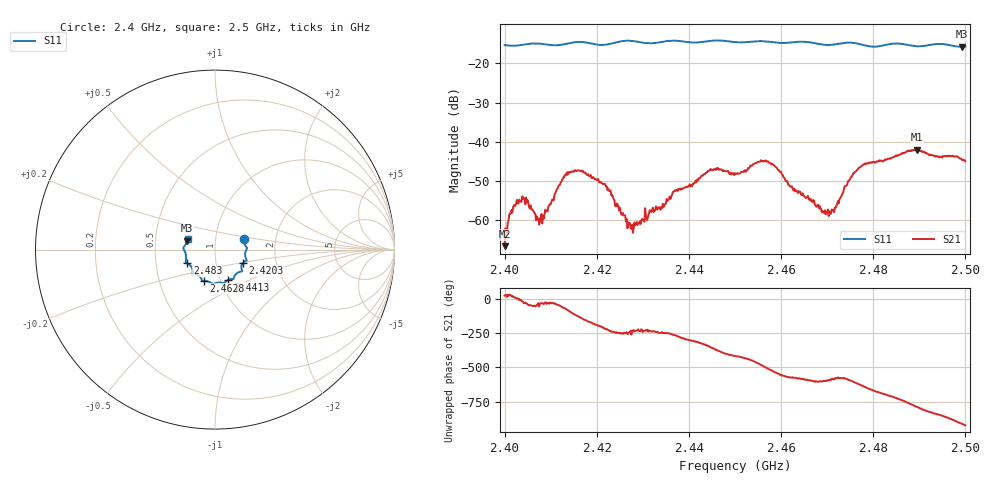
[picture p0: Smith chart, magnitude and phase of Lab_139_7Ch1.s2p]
# Hz S RI R 50
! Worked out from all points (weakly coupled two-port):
!   601 points, 2.4 GHz to 2.5 GHz, reference 50 ohm
!   highest |S21| = -41.97 dB at 2.4895 GHz (marker M1); lowest = -66.5 dB at 2.4 GHz (marker M2)
!   lowest |S11| = -15.8 dB at 2.4993 GHz (marker M3), VSWR 1.39, Z = 36.5 + j3.71 ohm
!   |S11| at or under -10 dB: start of sweep to end of sweep
!   S12 and S22 are empty: the file has one direction only
!   S11 on the Smith chart (normalised r, x): 2.4 GHz: 1.37, +0.16; 2.4203 GHz: 1.35, -0.21; 2.4413 GHz: 1.09, -0.38; 2.4628 GHz: 0.83, -0.30; 2.483 GHz: 0.72, -0.11; 2.5 GHz: 0.73, +0.09
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2.4e9  0.1606 0.0569  0.000437 0.000173  0 0  0 0
2.402333e9  0.1643 0.0317  0.00152 0.000225  0 0  0 0
2.404333e9  0.1728 0.0162  0.00162 -0.001  0 0  0 0
2.408e9  0.1769 0.00393  0.001 -0.000669  0 0  0 0
2.413e9  0.1698 -0.0427  0.00125 -0.00338  0 0  0 0
2.416667e9  0.1762 -0.0615  -0.00343 -0.00261  0 0  0 0
2.420333e9  0.1553 -0.0738  -0.0032 0.00103  0 0  0 0
2.4275e9  0.1501 -0.1211  -0.000101 0.000778  0 0  0 0
2.433333e9  0.1081 -0.1485  -0.000547 0.00135  0 0  0 0
2.441333e9  0.0743 -0.1679  0.00197 0.00228  0 0  0 0
2.445e9  0.0525 -0.1865  0.00444 2.34e-05  0 0  0 0
2.45e9  0.0293 -0.1837  0.00206 -0.00342  0 0  0 0
2.456833e9  -0.0158 -0.1888  -0.00463 -0.00313  0 0  0 0
2.462833e9  -0.063 -0.1747  -0.00202 0.00153  0 0  0 0
2.466667e9  -0.0741 -0.1675  -0.00089 0.00151  0 0  0 0
2.470833e9  -0.1002 -0.1392  -0.000749 0.000954  0 0  0 0
2.477e9  -0.1243 -0.1244  -0.000325 0.00469  0 0  0 0
2.483e9  -0.1548 -0.0767  0.00573 0.00179  0 0  0 0
2.483333e9  -0.1568 -0.0758  0.00592 0.00149  0 0  0 0
2.4895e9  -0.161 -0.0348  0.00273 -0.00749  0 0  0 0
2.499333e9  -0.1542 0.0495  -0.00569 0.00129  0 0  0 0
2.5e9  -0.1528 0.0587  -0.00516 0.00232  0 0  0 0
